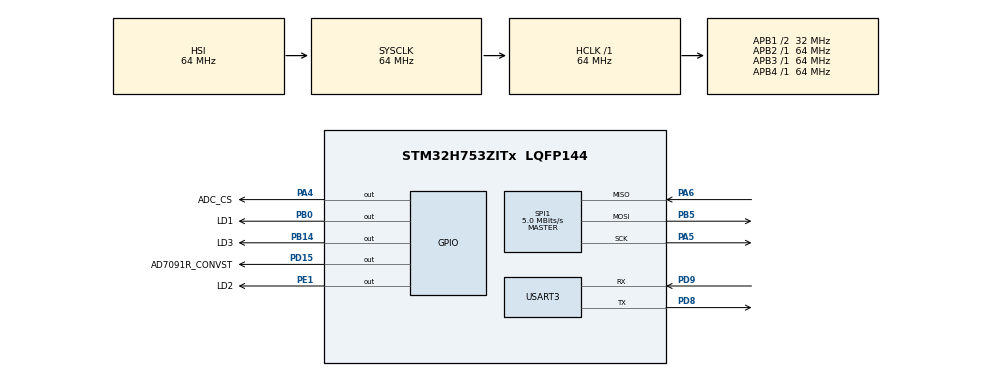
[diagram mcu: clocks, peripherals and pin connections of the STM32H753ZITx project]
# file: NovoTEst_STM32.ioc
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CORTEX_M7.default_mode_Activation=1
Dma.Request0=USART3_RX
Dma.Request1=USART3_TX
Dma.USART3_RX.0.Direction=DMA_PERIPH_TO_MEMORY
Dma.USART3_RX.0.EventEnable=DISABLE
Dma.USART3_RX.0.FIFOMode=DMA_FIFOMODE_DISABLE
Dma.USART3_RX.0.Instance=DMA1_Stream0
Dma.USART3_RX.0.MemDataAlignment=DMA_MDATAALIGN_BYTE
Dma.USART3_RX.0.MemInc=DMA_MINC_ENABLE
Dma.USART3_RX.0.Mode=DMA_NORMAL
Dma.USART3_RX.0.PeriphDataAlignment=DMA_PDATAALIGN_BYTE
Dma.USART3_RX.0.PeriphInc=DMA_PINC_DISABLE
Dma.USART3_RX.0.Polarity=HAL_DMAMUX_REQ_GEN_RISING
Dma.USART3_RX.0.Priority=DMA_PRIORITY_LOW
Dma.USART3_RX.0.RequestNumber=1
Dma.USART3_RX.0.SignalID=NONE
Dma.USART3_RX.0.SyncEnable=DISABLE
Dma.USART3_RX.0.SyncPolarity=HAL_DMAMUX_SYNC_NO_EVENT
Dma.USART3_RX.0.SyncRequestNumber=1
Dma.USART3_RX.0.SyncSignalID=NONE
Dma.USART3_TX.1.Direction=DMA_MEMORY_TO_PERIPH
Dma.USART3_TX.1.EventEnable=DISABLE
Dma.USART3_TX.1.FIFOMode=DMA_FIFOMODE_DISABLE
Dma.USART3_TX.1.Instance=DMA1_Stream1
Dma.USART3_TX.1.MemDataAlignment=DMA_MDATAALIGN_BYTE
Dma.USART3_TX.1.MemInc=DMA_MINC_ENABLE
Dma.USART3_TX.1.Mode=DMA_NORMAL
Dma.USART3_TX.1.PeriphDataAlignment=DMA_PDATAALIGN_BYTE
Dma.USART3_TX.1.PeriphInc=DMA_PINC_DISABLE
Dma.USART3_TX.1.Polarity=HAL_DMAMUX_REQ_GEN_RISING
Dma.USART3_TX.1.Priority=DMA_PRIORITY_LOW
Dma.USART3_TX.1.RequestNumber=1
Dma.USART3_TX.1.SignalID=NONE
Dma.USART3_TX.1.SyncEnable=DISABLE
Dma.USART3_TX.1.SyncPolarity=HAL_DMAMUX_SYNC_NO_EVENT
Dma.USART3_TX.1.SyncRequestNumber=1
Dma.USART3_TX.1.SyncSignalID=NONE
FREERTOS.Queues01=sensorDataQueue,10,uint16_t,0,Dynamic,NULL,NULL
FREERTOS.Tasks01=defaultTask,24,128,StartDefaultTask,Default,NULL,Dynamic,NULL,NULL;ProducerTask,24,256,StartProducerTask,Default,NULL,Dynamic,NULL,NULL;ConsumerTask,24,512,StartConsumerTask,Default,NULL,Dynamic,NULL,NULL
Mcu.Family=STM32H7
Mcu.Name=STM32H753ZITx
Mcu.Package=LQFP144
NVIC.DMA1_Stream0_IRQn=true\:5\:0\:false\:false\:true\:true\:false\:true\:true
NVIC.DMA1_Stream1_IRQn=true\:5\:0\:false\:false\:true\:true\:false\:true\:true
NVIC.PriorityGroup=NVIC_PRIORITYGROUP_4
NVIC.TIM7_IRQn=true\:15\:0\:false\:false\:true\:false\:false\:true\:true
NVIC.TimeBase=TIM7_IRQn
NVIC.TimeBaseIP=TIM7
NVIC.USART3_IRQn=true\:5\:0\:false\:false\:true\:true\:true\:true\:true
PA4.GPIO_Label=ADC_CS
PA4.Signal=GPIO_Output
PA5.Mode=Full_Duplex_Master
PA5.Signal=SPI1_SCK
PA6.Mode=Full_Duplex_Master
PA6.Signal=SPI1_MISO
PB0.GPIO_Label=LD1
PB0.Signal=GPIO_Output
PB14.GPIO_Label=LD3
PB14.Signal=GPIO_Output
PB5.Mode=Full_Duplex_Master
PB5.Signal=SPI1_MOSI
PD15.GPIO_Label=AD7091R_CONVST
PD15.Signal=GPIO_Output
PD8.Mode=Asynchronous
PD8.Signal=USART3_TX
PD9.Mode=Asynchronous
PD9.Signal=USART3_RX
PE1.GPIO_Label=LD2
PE1.Signal=GPIO_Output
PF9.Signal=GPXTI9
ProjectManager.HeapSize=0x200
ProjectManager.StackSize=0x400
ProjectManager.TargetToolchain=STM32CubeIDE
RCC.ADCFreq_Value=129000000
RCC.APB1Freq_Value=32000000
RCC.APB2Freq_Value=64000000
RCC.APB3Freq_Value=64000000
RCC.APB4Freq_Value=64000000
RCC.CortexFreq_Value=64000000
RCC.D2PPRE1=RCC_APB1_DIV2
RCC.DIVM1=4
RCC.DIVN1=10
RCC.HCLKFreq_Value=64000000
RCC.PLLFRACN=0
RCC.SYSCLKFreq_VALUE=64000000
RCC.USBFreq_Value=80000000
SPI1.BaudRatePrescaler=SPI_BAUDRATEPRESCALER_16
SPI1.CalculateBaudRate=5.0 MBits/s
SPI1.DataSize=SPI_DATASIZE_16BIT
SPI1.Direction=SPI_DIRECTION_2LINES
SPI1.Mode=SPI_MODE_MASTER
SPI1.VirtualType=VM_MASTER
USART3.VirtualMode-Asynchronous=VM_ASYNC
VP_FREERTOS_VS_CMSIS_V2.Mode=CMSIS_V2
VP_MEMORYMAP_VS_MEMORYMAP.Mode=CurAppReg
VP_SYS_VS_tim7.Mode=TIM7
board=custom

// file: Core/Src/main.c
/* USER CODE BEGIN Header */
/**
  ******************************************************************************
  * @file           : main.c
  * @brief          : Main program body
  ******************************************************************************
  * @attention
  *
  * Copyright (c) 2025 STMicroelectronics.
  * All rights reserved.
  *
  * This software is licensed under terms that can be found in the LICENSE file
  * in the root directory of this software component.
  * If no LICENSE file comes with this software, it is provided AS-IS.
  *
  ******************************************************************************
  */
/* USER CODE END Header */
#include "main.h"
#include "cmsis_os.h"
#include "dma.h"
#include "spi.h"
#include "usart.h"
#include "gpio.h"

/* USER CODE BEGIN Includes */
#include <stdio.h>
#include <string.h>
#include <stdlib.h>
#include "cJSON.h"
/* USER CODE END Includes */

/* USER CODE BEGIN PTD */
// A ESTRUTURA SensorData_t FOI MOVIDA PARA O FICHEIRO main.h
/* USER CODE END PTD */

/* USER CODE BEGIN PD */
#define ADC_BITS              12
#define ADC_MAX_VALUE         ((1 << ADC_BITS) - 1)   // 4095
#define VREF_MV               2500.0f

#define MIN_CURRENT_MA        4.0f
#define MAX_CURRENT_MA        20.0f
#define MIN_VOLTAGE_ADC_MV    100.0f
#define MAX_VOLTAGE_ADC_MV    2400.0f

#define NUM_SAMPLES           30

#define AD7091R_CS_Pin        ADC_CS_Pin
#define AD7091R_CS_Port       ADC_CS_GPIO_Port
#define AD7091R_CMD_RESET     0xFFFF
#define AD7091R_CMD_NORMAL    0x0020
/* USER CODE END PD */

void SystemClock_Config(void);
static void MPU_Config(void);
void MX_FREERTOS_Init(void);
/* USER CODE BEGIN PFP */
void AD7091R_Init(void);
uint16_t AD7091R_ReadData(void);
uint16_t get_filtered_reading(void);
float raw_to_voltage_mV(uint16_t raw_value);
float voltage_to_current_mA(float voltage_mv);
/* USER CODE END PFP */

/* USER CODE BEGIN 0 */

// Redireciona a saída da printf para a UART3
#ifdef __GNUC__
#define PUTCHAR_PROTOTYPE int __io_putchar(int ch)
#else
#define PUTCHAR_PROTOTYPE int fputc(int ch, FILE *f)
#endif

PUTCHAR_PROTOTYPE
{
  HAL_UART_Transmit(&huart3, (uint8_t *)&ch, 1, HAL_MAX_DELAY);
  return ch;
}

void AD7091R_Init(void)
{
    HAL_GPIO_WritePin(AD7091R_CS_Port, AD7091R_CS_Pin, GPIO_PIN_RESET);
    uint16_t reset_cmd_tx = AD7091R_CMD_RESET;
    HAL_SPI_Transmit(&hspi1, (uint8_t*)&reset_cmd_tx, 2, HAL_MAX_DELAY);
    HAL_GPIO_WritePin(AD7091R_CS_Port, AD7091R_CS_Pin, GPIO_PIN_SET);
    HAL_Delay(1000); // HAL_Delay é aceitável aqui, pois é antes do RTOS iniciar

    HAL_GPIO_WritePin(AD7091R_CS_Port, AD7091R_CS_Pin, GPIO_PIN_RESET);
    uint16_t normal_cmd_tx = AD7091R_CMD_NORMAL;
    HAL_SPI_Transmit(&hspi1, (uint8_t*)&normal_cmd_tx, 2, HAL_MAX_DELAY);
    HAL_GPIO_WritePin(AD7091R_CS_Port, AD7091R_CS_Pin, GPIO_PIN_SET);
}

uint16_t AD7091R_ReadData(void)
{
    uint8_t rx_buf[2] = {0};
    uint16_t adc_raw_16bits, adc_value_12bits;

    osDelay(10); // Pequena pausa com osDelay

    HAL_GPIO_WritePin(AD7091R_CS_Port, AD7091R_CS_Pin, GPIO_PIN_RESET);
    if (HAL_SPI_Receive(&hspi1, rx_buf, 2, HAL_MAX_DELAY) != HAL_OK)
    {
        HAL_GPIO_WritePin(AD7091R_CS_Port, AD7091R_CS_Pin, GPIO_PIN_SET);
        HAL_GPIO_WritePin(LD2_GPIO_Port, LD2_Pin, GPIO_PIN_SET);
        osDelay(100);
        HAL_GPIO_WritePin(LD2_GPIO_Port, LD2_Pin, GPIO_PIN_RESET);
        printf("Erro na comunicacao SPI!\r\n");
        return 0;
    }
    HAL_GPIO_WritePin(AD7091R_CS_Port, AD7091R_CS_Pin, GPIO_PIN_SET);

    HAL_GPIO_TogglePin(LD1_GPIO_Port, LD1_Pin);

    adc_raw_16bits = (rx_buf[0] << 8) | rx_buf[1];
    adc_value_12bits = (adc_raw_16bits >> 2) & 0x0FFF;

    return adc_value_12bits;
}

uint16_t get_filtered_reading(void)
{
    uint32_t sum = 0;
    for(uint8_t i = 0; i < NUM_SAMPLES; i++) {
        sum += AD7091R_ReadData();
        osDelay(10);
    }
    return (uint16_t)(sum / NUM_SAMPLES);
}

float raw_to_voltage_mV(uint16_t raw_value)
{
    return ((float)raw_value / ADC_MAX_VALUE) * VREF_MV;
}

float voltage_to_current_mA(float voltage_mv)
{
    if (voltage_mv < MIN_VOLTAGE_ADC_MV) voltage_mv = MIN_VOLTAGE_ADC_MV;
    if (voltage_mv > MAX_VOLTAGE_ADC_MV) voltage_mv = MAX_VOLTAGE_ADC_MV;

    return 4.0f + ((voltage_mv - MIN_VOLTAGE_ADC_MV) * (16.0f / (MAX_VOLTAGE_ADC_MV - MIN_VOLTAGE_ADC_MV)));
}

/* USER CODE END 0 */

int main(void)
{

  /* MPU Configuration--------------------------------------------------------*/
  MPU_Config();

  /* MCU Configuration--------------------------------------------------------*/

  /* Reset of all peripherals, Initializes the Flash interface and the Systick. */
  HAL_Init();

  /* Configure the system clock */
  SystemClock_Config();

  /* Initialize all configured peripherals */
  MX_GPIO_Init();
  MX_DMA_Init();
  MX_USART3_UART_Init();
  MX_SPI1_Init();
  /* USER CODE BEGIN 2 */
  printf("Inicializando ADC AD7091R...\r\n");
  AD7091R_Init();
  printf("Sistema pronto.\r\n");
  /* USER CODE END 2 */

  /* Init scheduler */
  osKernelInitialize();  /* Call init function for freertos objects (in cmsis_os2.c) */
  MX_FREERTOS_Init();

  /* Start scheduler */
  osKernelStart();

  /* We should never get here as control is now taken by the scheduler */

  /* Infinite loop */
  while (1)
  {

  }
}

void SystemClock_Config(void)
{
  RCC_OscInitTypeDef RCC_OscInitStruct = {0};
  RCC_ClkInitTypeDef RCC_ClkInitStruct = {0};

  /** Supply configuration update enable
  */
  HAL_PWREx_ConfigSupply(PWR_LDO_SUPPLY);

  /** Configure the main internal regulator output voltage
  */
  __HAL_PWR_VOLTAGESCALING_CONFIG(PWR_REGULATOR_VOLTAGE_SCALE3);

  while(!__HAL_PWR_GET_FLAG(PWR_FLAG_VOSRDY)) {}

  /** Initializes the RCC Oscillators according to the specified parameters
  * in the RCC_OscInitTypeDef structure.
  */
  RCC_OscInitStruct.OscillatorType = RCC_OSCILLATORTYPE_HSI;
  RCC_OscInitStruct.HSIState = RCC_HSI_DIV1;
  RCC_OscInitStruct.HSICalibrationValue = RCC_HSICALIBRATION_DEFAULT;
  RCC_OscInitStruct.PLL.PLLState = RCC_PLL_ON;
  RCC_OscInitStruct.PLL.PLLSource = RCC_PLLSOURCE_HSI;
  RCC_OscInitStruct.PLL.PLLM = 4;
  RCC_OscInitStruct.PLL.PLLN = 10;
  RCC_OscInitStruct.PLL.PLLP = 2;
  RCC_OscInitStruct.PLL.PLLQ = 2;
  RCC_OscInitStruct.PLL.PLLR = 2;
  RCC_OscInitStruct.PLL.PLLRGE = RCC_PLL1VCIRANGE_3;
  RCC_OscInitStruct.PLL.PLLVCOSEL = RCC_PLL1VCOMEDIUM;
  RCC_OscInitStruct.PLL.PLLFRACN = 0;
  if (HAL_RCC_OscConfig(&RCC_OscInitStruct) != HAL_OK)
  {
    Error_Handler();
  }

  /** Initializes the CPU, AHB and APB buses clocks
  */
  RCC_ClkInitStruct.ClockType = RCC_CLOCKTYPE_HCLK|RCC_CLOCKTYPE_SYSCLK
                              |RCC_CLOCKTYPE_PCLK1|RCC_CLOCKTYPE_PCLK2
                              |RCC_CLOCKTYPE_D3PCLK1|RCC_CLOCKTYPE_D1PCLK1;
  RCC_ClkInitStruct.SYSCLKSource = RCC_SYSCLKSOURCE_HSI;
  RCC_ClkInitStruct.SYSCLKDivider = RCC_SYSCLK_DIV1;
  RCC_ClkInitStruct.AHBCLKDivider = RCC_HCLK_DIV1;
  RCC_ClkInitStruct.APB3CLKDivider = RCC_APB3_DIV1;
  RCC_ClkInitStruct.APB1CLKDivider = RCC_APB1_DIV2;
  RCC_ClkInitStruct.APB2CLKDivider = RCC_APB2_DIV1;
  RCC_ClkInitStruct.APB4CLKDivider = RCC_APB4_DIV1;

  if (HAL_RCC_ClockConfig(&RCC_ClkInitStruct, FLASH_LATENCY_1) != HAL_OK)
  {
    Error_Handler();
  }
}

/* USER CODE BEGIN 4 */
// AS TAREFAS FORAM MOVIDAS PARA O FICHEIRO freertos.c
/* USER CODE END 4 */

 /* MPU Configuration */

void MPU_Config(void)
{
  MPU_Region_InitTypeDef MPU_InitStruct = {0};

  /* Disables the MPU */
  HAL_MPU_Disable();

  /** Initializes and configures the Region and the memory to be protected
  */
  MPU_InitStruct.Enable = MPU_REGION_ENABLE;
  MPU_InitStruct.Number = MPU_REGION_NUMBER0;
  MPU_InitStruct.BaseAddress = 0x0;
  MPU_InitStruct.Size = MPU_REGION_SIZE_4GB;
  MPU_InitStruct.SubRegionDisable = 0x87;
  MPU_InitStruct.TypeExtField = MPU_TEX_LEVEL0;
  MPU_InitStruct.AccessPermission = MPU_REGION_NO_ACCESS;
  MPU_InitStruct.DisableExec = MPU_INSTRUCTION_ACCESS_DISABLE;
  MPU_InitStruct.IsShareable = MPU_ACCESS_SHAREABLE;
  MPU_InitStruct.IsCacheable = MPU_ACCESS_NOT_CACHEABLE;
  MPU_InitStruct.IsBufferable = MPU_ACCESS_NOT_BUFFERABLE;

  HAL_MPU_ConfigRegion(&MPU_InitStruct);
  /* Enables the MPU */
  HAL_MPU_Enable(MPU_PRIVILEGED_DEFAULT);

}

void HAL_TIM_PeriodElapsedCallback(TIM_HandleTypeDef *htim)
{
  if (htim->Instance == TIM7)
  {
    HAL_IncTick();
  }
}

void Error_Handler(void)
{
  __disable_irq();
  while (1)
  {
  }
}

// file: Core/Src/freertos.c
/* USER CODE BEGIN Header */
/**
  ******************************************************************************
  * File Name          : freertos.c
  * Description        : Code for freertos applications
  ******************************************************************************
  * @attention
  *
  * Copyright (c) 2025 STMicroelectronics.
  * All rights reserved.
  *
  * This software is licensed under terms that can be found in the LICENSE file
  * in the root directory of this software component.
  * If no LICENSE file comes with this software, it is provided AS-IS.
  *
  ******************************************************************************
  */
/* USER CODE END Header */

#include "FreeRTOS.h"
#include "task.h"
#include "main.h"
#include "cmsis_os.h"

/* USER CODE BEGIN Includes */
#include <stdio.h>
#include <stdlib.h>
#include "cJSON.h"
#include "usart.h"
#include "gpio.h"
/* USER CODE END Includes */

/* Definitions for defaultTask */
osThreadId_t defaultTaskHandle;
const osThreadAttr_t defaultTask_attributes = {
  .name = "defaultTask",
  .stack_size = 128 * 4,
  .priority = (osPriority_t) osPriorityNormal,
};
/* Definitions for ProducerTask */
osThreadId_t ProducerTaskHandle;
const osThreadAttr_t ProducerTask_attributes = {
  .name = "ProducerTask",
  .stack_size = 256 * 4,
  .priority = (osPriority_t) osPriorityNormal,
};
/* Definitions for ConsumerTask */
osThreadId_t ConsumerTaskHandle;
const osThreadAttr_t ConsumerTask_attributes = {
  .name = "ConsumerTask",
  .stack_size = 512 * 4,
  .priority = (osPriority_t) osPriorityNormal,
};
/* Definitions for sensorDataQueue */
osMessageQueueId_t sensorDataQueueHandle;
const osMessageQueueAttr_t sensorDataQueue_attributes = {
  .name = "sensorDataQueue"
};

/* USER CODE BEGIN FunctionPrototypes */
// As funções da lógica do ADC são externas (estão em main.c)

extern uint16_t get_filtered_reading(void);
extern float raw_to_voltage_mV(uint16_t raw_value);
extern float voltage_to_current_mA(float voltage_mv);
/* USER CODE END FunctionPrototypes */

void StartDefaultTask(void *argument);
void StartProducerTask(void *argument);
void StartConsumerTask(void *argument);

void MX_FREERTOS_Init(void); /* (MISRA C 2004 rule 8.1) */

void MX_FREERTOS_Init(void) {

  /* Create the queue(s) */
  /* creation of sensorDataQueue */
	sensorDataQueueHandle = osMessageQueueNew (10, sizeof(SensorData_t), &sensorDataQueue_attributes);

  /* Create the thread(s) */
  /* creation of defaultTask */
  defaultTaskHandle = osThreadNew(StartDefaultTask, NULL, &defaultTask_attributes);

  /* creation of ProducerTask */
  ProducerTaskHandle = osThreadNew(StartProducerTask, NULL, &ProducerTask_attributes);

  /* creation of ConsumerTask */
  ConsumerTaskHandle = osThreadNew(StartConsumerTask, NULL, &ConsumerTask_attributes);

}

void StartDefaultTask(void *argument)
{
  for(;;)
  {
    osDelay(1);
  }
}

/* USER CODE BEGIN Header_StartProducerTask */
/**
  * @brief  Função da Tarefa Produtora (Medição).
  * @param  argument: Not used
  * @retval None
  */
/* USER CODE END Header_StartProducerTask */
void StartProducerTask(void *argument)
{
  /* USER CODE BEGIN StartProducerTask */
  SensorData_t sensor_data; // Cria uma instância da estrutura

  /* Infinite loop */
  for(;;)
  {
    // 1. Realiza a leitura filtrada do ADC
    sensor_data.raw_adc = get_filtered_reading();

    // 2. Converte o valor bruto para tensão
    sensor_data.voltage_mv = raw_to_voltage_mV(sensor_data.raw_adc);

    // 3. Converte a tensão para corrente
    sensor_data.current_ma = voltage_to_current_mA(sensor_data.voltage_mv);

    // 4. Envia a estrutura completa para a fila
    osMessageQueuePut(sensorDataQueueHandle, &sensor_data, 0U, osWaitForever);

    // 5. Aguarda um tempo antes da próxima medição (ex: 1 segundo)
    osDelay(1000);
  }
  /* USER CODE END StartProducerTask */
}

/* USER CODE BEGIN Header_StartConsumerTask */
/**
* @brief Função da Tarefa Consumidora (Formatação e Envio).
* @param argument: Not used
* @retval None
*/
/* USER CODE END Header_StartConsumerTask */
void StartConsumerTask(void *argument)
{

}
